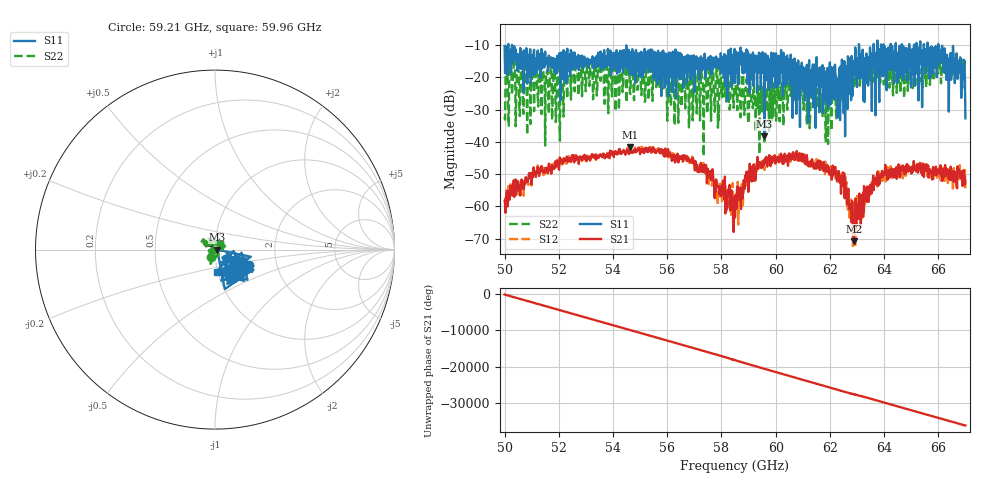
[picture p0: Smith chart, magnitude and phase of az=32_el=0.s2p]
!Created with skrf (http://scikit-rf.org).
# GHz S RI R 50.0
!freq ReS11 ImS11 ReS21 ImS21 ReS12 ImS12 ReS22 ImS22
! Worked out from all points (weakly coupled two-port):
!   1001 points, 50 GHz to 67 GHz, reference 50 ohm
!   highest |S21| = -41.61 dB at 54.64 GHz (marker M1); lowest = -70.8 dB at 62.89 GHz (marker M2)
!   lowest |S11| = -38.3 dB at 59.59 GHz (marker M3), VSWR 1.02, Z = 51.2 - j0.0825 ohm
!   |S11| at or under -10 dB: 50.27 GHz to 63.07 GHz (12.8 GHz wide, 22.6 % of centre); 63.08 GHz to 63.62 GHz (540.6 MHz wide, 0.853 % of centre); 66.01 GHz to end of sweep (the widest 3 of 18)
!   |S22| runs from -44.5 to -13.4 dB; largest |S21 - S12| = 0.0021
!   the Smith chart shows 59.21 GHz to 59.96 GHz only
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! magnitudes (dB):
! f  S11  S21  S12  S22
! 50 GHz  -10.3  -58.3  -57.5  -32.2
! 50.29 GHz  -15.6  -56.7  -56.4  -22.7
! 50.49 GHz  -12.8  -52.2  -52.7  -14.9
! 51.77 GHz  -15.0  -47.4  -47.4  -28.2
! 51.95 GHz  -13.3  -46.4  -47.6  -15.3
! 52.31 GHz  -11.1  -45.3  -45.1  -26.5
! 52.84 GHz  -14.3  -45.3  -45.7  -22.4
! 53.76 GHz  -13.5  -44.1  -44.5  -14.5
! 54.64 GHz  -16.0  -41.6  -41.9  -25.1
! 55.68 GHz  -13.8  -42.8  -42.4  -17.6
! 57.31 GHz  -14.9  -49.4  -49.9  -21.0
! 58.5 GHz  -21.7  -63.5  -59.3  -18.7
! 59.59 GHz  -38.3  -45.9  -48.7  -39.8
! 60.57 GHz  -16.7  -45.5  -43.9  -24.3
! 61.34 GHz  -24.6  -45.4  -46.5  -23.4
! 62.24 GHz  -26.5  -50.4  -49.8  -32.7
! 62.89 GHz  -17.1  -70.8  -68.4  -21.2
! 63.67 GHz  -13.8  -52.6  -53.0  -18.4
! 64.18 GHz  -17.9  -50.2  -49.6  -19.2
! 66.08 GHz  -15.1  -47.3  -51.5  -16.8
! 66.9 GHz  -16.3  -53.7  -52.1  -15.8
! 67 GHz  -32.7  -51.9  -54.4  -14.7
